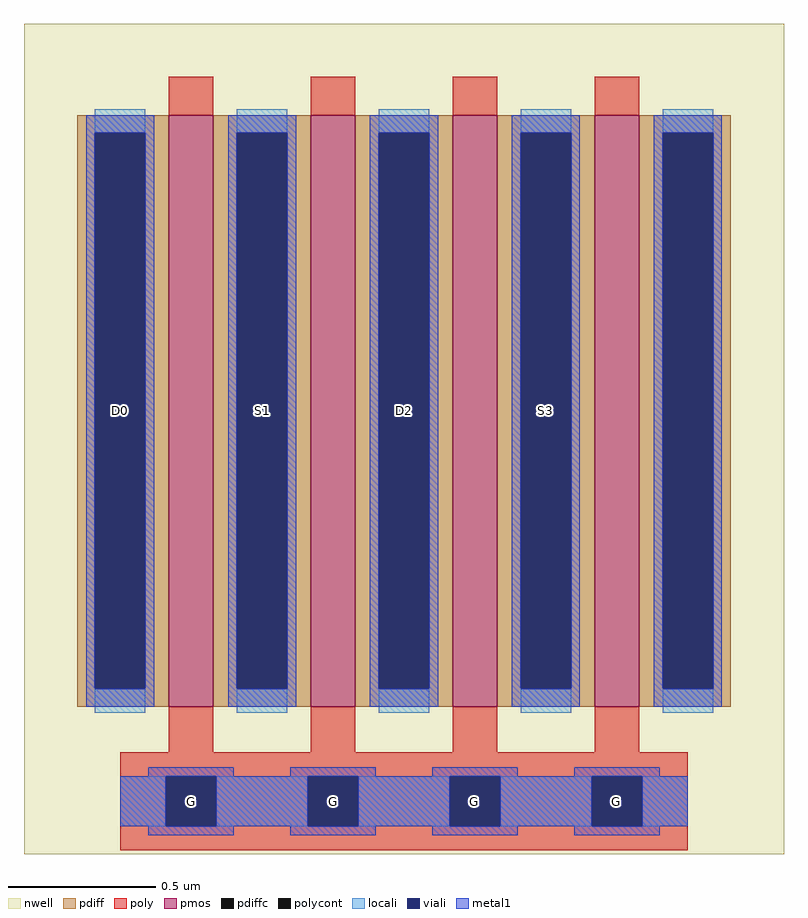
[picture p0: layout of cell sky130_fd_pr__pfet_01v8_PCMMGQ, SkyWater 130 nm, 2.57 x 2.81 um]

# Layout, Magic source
magic
tech sky130A
magscale 1 2
<< nwell >>
rect -257 -264 257 298
<< pmos >>
rect -159 -164 -129 236
rect -63 -164 -33 236
rect 33 -164 63 236
rect 129 -164 159 236
<< pdiff >>
rect -221 224 -159 236
rect -221 -152 -209 224
rect -175 -152 -159 224
rect -221 -164 -159 -152
rect -129 224 -63 236
rect -129 -152 -113 224
rect -79 -152 -63 224
rect -129 -164 -63 -152
rect -33 224 33 236
rect -33 -152 -17 224
rect 17 -152 33 224
rect -33 -164 33 -152
rect 63 224 129 236
rect 63 -152 79 224
rect 113 -152 129 224
rect 63 -164 129 -152
rect 159 224 221 236
rect 159 -152 175 224
rect 209 -152 221 224
rect 159 -164 221 -152
<< pdiffc >>
rect -209 -152 -175 224
rect -113 -152 -79 224
rect -17 -152 17 224
rect 79 -152 113 224
rect 175 -152 209 224
<< poly >>
rect -159 236 -129 262
rect -63 236 -33 262
rect 33 236 63 262
rect 129 236 159 262
rect -159 -195 -129 -164
rect -63 -195 -33 -164
rect 33 -195 63 -164
rect 129 -195 159 -164
rect -192 -211 192 -195
rect -192 -245 -161 -211
rect -127 -245 -65 -211
rect -31 -245 31 -211
rect 65 -245 127 -211
rect 161 -245 192 -211
rect -192 -261 192 -245
<< polycont >>
rect -161 -245 -127 -211
rect -65 -245 -31 -211
rect 31 -245 65 -211
rect 127 -245 161 -211
<< locali >>
rect -209 224 -175 240
rect -209 -168 -175 -152
rect -113 224 -79 240
rect -113 -168 -79 -152
rect -17 224 17 240
rect -17 -168 17 -152
rect 79 224 113 240
rect 79 -168 113 -152
rect 175 224 209 240
rect 175 -168 209 -152
rect -192 -245 -161 -211
rect -127 -245 -65 -211
rect -31 -245 31 -211
rect 65 -245 127 -211
rect 161 -245 192 -211
<< viali >>
rect -209 -152 -175 224
rect -113 -152 -79 224
rect -17 -152 17 224
rect 79 -152 113 224
rect 175 -152 209 224
rect -161 -245 -127 -211
rect -65 -245 -31 -211
rect 31 -245 65 -211
rect 127 -245 161 -211
<< metal1 >>
rect -215 224 -169 236
rect -215 -152 -209 224
rect -175 -152 -169 224
rect -215 -164 -169 -152
rect -119 224 -73 236
rect -119 -152 -113 224
rect -79 -152 -73 224
rect -119 -164 -73 -152
rect -23 224 23 236
rect -23 -152 -17 224
rect 17 -152 23 224
rect -23 -164 23 -152
rect 73 224 119 236
rect 73 -152 79 224
rect 113 -152 119 224
rect 73 -164 119 -152
rect 169 224 215 236
rect 169 -152 175 224
rect 209 -152 215 224
rect 169 -164 215 -152
rect -173 -211 -115 -205
rect -77 -211 -19 -205
rect 19 -211 77 -205
rect 115 -211 173 -205
rect -192 -245 -161 -211
rect -127 -245 -65 -211
rect -31 -245 31 -211
rect 65 -245 127 -211
rect 161 -245 192 -211
rect -173 -251 -115 -245
rect -77 -251 -19 -245
rect 19 -251 77 -245
rect 115 -251 173 -245
<< labels >>
rlabel pdiffc -192 36 -192 36 0 D0
port 1 nsew
rlabel polycont -144 -228 -144 -228 0 G
port 2 nsew
rlabel pdiffc -96 36 -96 36 0 S1
port 3 nsew
rlabel polycont -48 -228 -48 -228 0 G
port 2 nsew
rlabel pdiffc 0 36 0 36 0 D2
port 4 nsew
rlabel polycont 48 -228 48 -228 0 G
port 2 nsew
rlabel pdiffc 96 36 96 36 0 S3
port 5 nsew
rlabel polycont 144 -228 144 -228 0 G
port 2 nsew
<< properties >>
string gencell sky130_fd_pr__pfet_01v8
string library sky130
string parameters w 2 l 0.15 m 1 nf 4 diffcov 100 polycov 100 guard 0 glc 1 grc 1 gtc 1 gbc 1 tbcov 100 rlcov 100 topc 0 botc 1 poverlap 0 doverlap 1 lmin 0.15 wmin 0.42 class mosfet compatible {sky130_fd_pr__pfet_01v8  sky130_fd_pr__pfet_01v8_lvt sky130_fd_pr__pfet_01v8_hvt  sky130_fd_pr__pfet_g5v0d10v5} full_metal 0 conn_gates 1 viasrc 100 viadrn 100 viagate 100 viagb 0 viagr 0 viagl 0 viagt 0 doports 1
<< end >>
